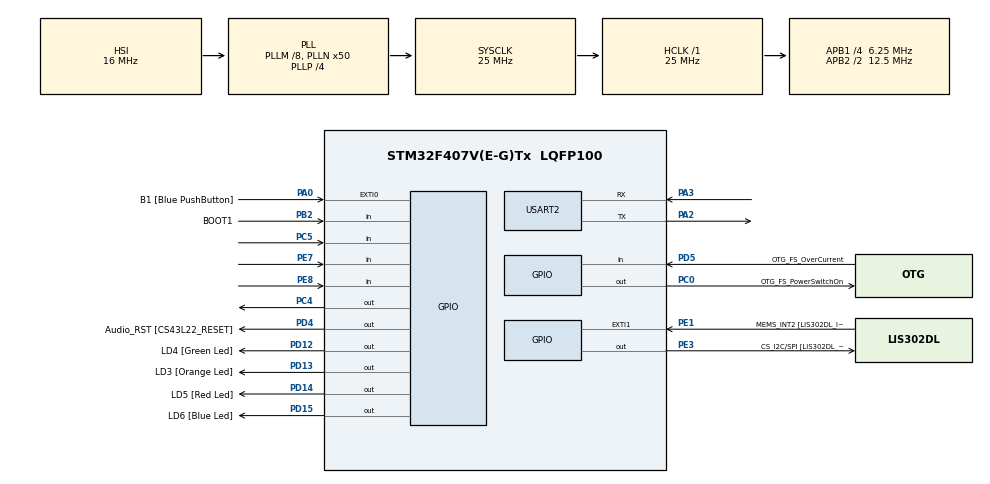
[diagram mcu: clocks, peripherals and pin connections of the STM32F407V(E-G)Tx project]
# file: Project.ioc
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Mcu.Family=STM32F4
Mcu.Name=STM32F407V(E-G)Tx
Mcu.Package=LQFP100
NVIC.PriorityGroup=NVIC_PRIORITYGROUP_0
PA0-WKUP.GPIO_Label=B1 [Blue PushButton]
PA0-WKUP.Signal=GPXTI0
PA10.GPIO_Label=OTG_FS_ID
PA10.GPIO_Mode=GPIO_MODE_AF_PP
PA10.GPIO_PuPd=GPIO_NOPULL
PA10.GPIO_Speed=GPIO_SPEED_FREQ_LOW
PA10.Signal=USB_OTG_FS_ID
PA11.GPIO_Label=OTG_FS_DM
PA11.GPIO_Mode=GPIO_MODE_AF_PP
PA11.GPIO_PuPd=GPIO_NOPULL
PA11.GPIO_Speed=GPIO_SPEED_FREQ_LOW
PA11.Signal=USB_OTG_FS_DM
PA12.GPIO_Label=OTG_FS_DP
PA12.GPIO_Mode=GPIO_MODE_AF_PP
PA12.GPIO_PuPd=GPIO_NOPULL
PA12.GPIO_Speed=GPIO_SPEED_FREQ_LOW
PA12.Signal=USB_OTG_FS_DP
PA13.GPIO_Label=SWDIO
PA13.Signal=SYS_JTMS-SWDIO
PA14.GPIO_Label=SWCLK
PA14.Signal=SYS_JTCK-SWCLK
PA2.Mode=Asynchronous
PA2.Signal=USART2_TX
PA3.Mode=Asynchronous
PA3.Signal=USART2_RX
PA4.GPIO_Label=I2S3_WS [CS43L22_LRCK]
PA4.GPIO_Mode=GPIO_MODE_AF_PP
PA4.GPIO_PuPd=GPIO_NOPULL
PA4.GPIO_Speed=GPIO_SPEED_FREQ_LOW
PA4.Signal=I2S3_WS
PA5.GPIO_Label=SPI1_SCK [LIS302DL_SCL/SPC]
PA5.GPIO_Mode=GPIO_MODE_AF_PP
PA5.GPIO_PuPd=GPIO_NOPULL
PA5.GPIO_Speed=GPIO_SPEED_FREQ_LOW
PA5.Signal=SPI1_SCK
PA6.GPIO_Label=SPI1_MISO [LIS302DL_SDO]
PA6.GPIO_Mode=GPIO_MODE_AF_PP
PA6.GPIO_PuPd=GPIO_NOPULL
PA6.GPIO_Speed=GPIO_SPEED_FREQ_LOW
PA6.Signal=SPI1_MISO
PA7.GPIO_Label=SPI1_MOSI [LIS302DL_SDA/SDI/SDO]
PA7.GPIO_Mode=GPIO_MODE_AF_PP
PA7.GPIO_PuPd=GPIO_NOPULL
PA7.GPIO_Speed=GPIO_SPEED_FREQ_LOW
PA7.Signal=SPI1_MOSI
PA9.GPIO_Label=VBUS_FS
PA9.GPIO_Mode=GPIO_MODE_INPUT
PA9.GPIO_PuPd=GPIO_NOPULL
PA9.Signal=USB_OTG_FS_VBUS
PB10.GPIO_Label=CLK_IN [MP45DT02_CLK]
PB10.GPIO_Mode=GPIO_MODE_AF_PP
PB10.GPIO_PuPd=GPIO_NOPULL
PB10.GPIO_Speed=GPIO_SPEED_FREQ_LOW
PB10.Signal=I2S2_CK
PB2.GPIO_Label=BOOT1
PB2.GPIO_Mode=GPIO_MODE_INPUT
PB2.GPIO_PuPd=GPIO_NOPULL
PB2.Signal=GPIO_Input
PB3.GPIO_Label=SWO
PB3.Signal=SYS_JTDO-SWO
PB6.GPIO_Label=Audio_SCL [CS43L22_SCL]
PB6.GPIO_Mode=GPIO_MODE_AF_OD
PB6.GPIO_PuPd=GPIO_NOPULL
PB6.GPIO_Speed=GPIO_SPEED_FREQ_LOW
PB6.Signal=I2C1_SCL
PB9.GPIO_Label=Audio_SDA [CS43L22_SDA]
PB9.GPIO_Mode=GPIO_MODE_AF_OD
PB9.GPIO_PuPd=GPIO_NOPULL
PB9.GPIO_Speed=GPIO_SPEED_FREQ_LOW
PB9.Signal=I2C1_SDA
PC0.GPIO_Label=OTG_FS_PowerSwitchOn
PC0.GPIO_PuPd=GPIO_NOPULL
PC0.GPIO_Speed=GPIO_SPEED_FREQ_LOW
PC0.PinState=GPIO_PIN_SET
PC0.Signal=GPIO_Output
PC10.GPIO_Label=I2S3_SCK [CS43L22_SCLK]
PC10.GPIO_Mode=GPIO_MODE_AF_PP
PC10.GPIO_PuPd=GPIO_NOPULL
PC10.GPIO_Speed=GPIO_SPEED_FREQ_LOW
PC10.Signal=I2S3_CK
PC12.GPIO_Label=I2S3_SD [CS43L22_SDIN]
PC12.GPIO_Mode=GPIO_MODE_AF_PP
PC12.GPIO_PuPd=GPIO_NOPULL
PC12.GPIO_Speed=GPIO_SPEED_FREQ_LOW
PC12.Signal=I2S3_SD
PC14-OSC32_IN.GPIO_Label=PC14-OSC32_IN
PC14-OSC32_IN.Signal=RCC_OSC32_IN
PC15-OSC32_OUT.GPIO_Label=PC15-OSC32_OUT
PC15-OSC32_OUT.Signal=RCC_OSC32_OUT
PC3.GPIO_Label=PDM_OUT [MP45DT02_DOUT]
PC3.GPIO_Mode=GPIO_MODE_AF_PP
PC3.GPIO_PuPd=GPIO_NOPULL
PC3.GPIO_Speed=GPIO_SPEED_FREQ_LOW
PC3.Signal=I2S2_SD
PC4.Signal=GPIO_Output
PC5.Signal=GPIO_Input
PC7.GPIO_Label=I2S3_MCK [CS43L22_MCLK]
PC7.GPIO_Mode=GPIO_MODE_AF_PP
PC7.GPIO_PuPd=GPIO_NOPULL
PC7.GPIO_Speed=GPIO_SPEED_FREQ_LOW
PC7.Signal=I2S3_MCK
PD12.GPIO_Label=LD4 [Green Led]
PD12.GPIO_PuPd=GPIO_NOPULL
PD12.GPIO_Speed=GPIO_SPEED_FREQ_LOW
PD12.Signal=GPIO_Output
PD13.GPIO_Label=LD3 [Orange Led]
PD13.GPIO_PuPd=GPIO_NOPULL
PD13.GPIO_Speed=GPIO_SPEED_FREQ_LOW
PD13.Signal=GPIO_Output
PD14.GPIO_Label=LD5 [Red Led]
PD14.GPIO_PuPd=GPIO_NOPULL
PD14.GPIO_Speed=GPIO_SPEED_FREQ_LOW
PD14.Signal=GPIO_Output
PD15.GPIO_Label=LD6 [Blue Led]
PD15.GPIO_PuPd=GPIO_NOPULL
PD15.GPIO_Speed=GPIO_SPEED_FREQ_LOW
PD15.Signal=GPIO_Output
PD4.GPIO_Label=Audio_RST [CS43L22_RESET]
PD4.GPIO_PuPd=GPIO_NOPULL
PD4.GPIO_Speed=GPIO_SPEED_FREQ_LOW
PD4.Signal=GPIO_Output
PD5.GPIO_Label=OTG_FS_OverCurrent
PD5.GPIO_Mode=GPIO_MODE_INPUT
PD5.GPIO_PuPd=GPIO_NOPULL
PD5.Signal=GPIO_Input
PE1.GPIO_Label=MEMS_INT2 [LIS302DL_INT2]
PE1.GPIO_ModeDefaultEXTI=GPIO_MODE_EVT_RISING
PE1.GPIO_PuPd=GPIO_NOPULL
PE1.Signal=GPXTI1
PE3.GPIO_Label=CS_I2C/SPI [LIS302DL_CS_I2C/SPI]
PE3.GPIO_PuPd=GPIO_NOPULL
PE3.GPIO_Speed=GPIO_SPEED_FREQ_LOW
PE3.Signal=GPIO_Output
PE7.Signal=GPIO_Input
PE8.Signal=GPIO_Input
PH0-OSC_IN.GPIO_Label=PH0-OSC_IN
PH0-OSC_IN.Signal=RCC_OSC_IN
PH1-OSC_OUT.GPIO_Label=PH1-OSC_OUT
PH1-OSC_OUT.Signal=RCC_OSC_OUT
ProjectManager.HeapSize=0x200
ProjectManager.StackSize=0x400
ProjectManager.TargetToolchain=SW4STM32
RCC.48MHZClocksFreq_Value=14285714.285714285
RCC.AHBFreq_Value=25000000
RCC.APB1CLKDivider=RCC_HCLK_DIV4
RCC.APB1Freq_Value=6250000
RCC.APB1TimFreq_Value=12500000
RCC.APB2CLKDivider=RCC_HCLK_DIV2
RCC.APB2Freq_Value=12500000
RCC.APB2TimFreq_Value=25000000
RCC.CortexFreq_Value=25000000
RCC.HCLKFreq_Value=25000000
RCC.HSE_VALUE=8000000
RCC.HSI_VALUE=16000000
RCC.LSE_VALUE=32768
RCC.PLLM=8
RCC.PLLN=50
RCC.PLLP=RCC_PLLP_DIV4
RCC.PLLQ=7
RCC.SYSCLKFreq_VALUE=25000000
RCC.SYSCLKSource=RCC_SYSCLKSOURCE_PLLCLK
RCC.VCOOutputFreq_Value=100000000
USART2.VirtualMode=VM_ASYNC
board=STM32F4DISCOVERY

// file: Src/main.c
/**
  ******************************************************************************
  * File Name          : main.c
  * Description        : Main program body
  ******************************************************************************
  ** This notice applies to any and all portions of this file
  * that are not between comment pairs USER CODE BEGIN and
  * USER CODE END. Other portions of this file, whether
  * inserted by the user or by software development tools
  * are owned by their respective copyright owners.
  *
  * COPYRIGHT(c) 2017 STMicroelectronics
  *
  * Redistribution and use in source and binary forms, with or without modification,
  * are permitted provided that the following conditions are met:
  *   1. Redistributions of source code must retain the above copyright notice,
  *      this list of conditions and the following disclaimer.
  *   2. Redistributions in binary form must reproduce the above copyright notice,
  *      this list of conditions and the following disclaimer in the documentation
  *      and/or other materials provided with the distribution.
  *   3. Neither the name of STMicroelectronics nor the names of its contributors
  *      may be used to endorse or promote products derived from this software
  *      without specific prior written permission.
  *
  * THIS SOFTWARE IS PROVIDED BY THE COPYRIGHT HOLDERS AND CONTRIBUTORS "AS IS"
  * AND ANY EXPRESS OR IMPLIED WARRANTIES, INCLUDING, BUT NOT LIMITED TO, THE
  * IMPLIED WARRANTIES OF MERCHANTABILITY AND FITNESS FOR A PARTICULAR PURPOSE ARE
  * DISCLAIMED. IN NO EVENT SHALL THE COPYRIGHT HOLDER OR CONTRIBUTORS BE LIABLE
  * FOR ANY DIRECT, INDIRECT, INCIDENTAL, SPECIAL, EXEMPLARY, OR CONSEQUENTIAL
  * DAMAGES (INCLUDING, BUT NOT LIMITED TO, PROCUREMENT OF SUBSTITUTE GOODS OR
  * SERVICES; LOSS OF USE, DATA, OR PROFITS; OR BUSINESS INTERRUPTION) HOWEVER
  * CAUSED AND ON ANY THEORY OF LIABILITY, WHETHER IN CONTRACT, STRICT LIABILITY,
  * OR TORT (INCLUDING NEGLIGENCE OR OTHERWISE) ARISING IN ANY WAY OUT OF THE USE
  * OF THIS SOFTWARE, EVEN IF ADVISED OF THE POSSIBILITY OF SUCH DAMAGE.
  *
  ******************************************************************************
  */
#include "main.h"
#include "stm32f4xx_hal.h"

/* USER CODE BEGIN Includes */
#include "dwt_stm32_delay.h"
/* USER CODE END Includes */

UART_HandleTypeDef huart2;

/* USER CODE BEGIN PV */
/* Private variables ---------------------------------------------------------*/

/* USER CODE END PV */

void SystemClock_Config(void);
static void MX_GPIO_Init(void);
static void MX_USART2_UART_Init(void);

/* USER CODE BEGIN PFP */
/* Private function prototypes -----------------------------------------------*/
/* USER CODE END PFP */

/* USER CODE BEGIN 0 */
int in=0;
uint32_t old_time,new_time;
uint32_t duration=0;
int E8=0,E7=0;
int calibrate=0;
int len_mmx100=0;
int len_int=0;
int len_frac=0;
int status=0;
char c[sizeof(int)];

/* USER CODE END 0 */

int main(void)
{

  /* MCU Configuration----------------------------------------------------------*/

  /* Reset of all peripherals, Initializes the Flash interface and the Systick. */
  HAL_Init();

  /* Configure the system clock */
  SystemClock_Config();

  /* Initialize all configured peripherals */
  MX_GPIO_Init();
  MX_USART2_UART_Init();

  /* USER CODE BEGIN 2 */
  HAL_GPIO_WritePin(GPIOA,GPIO_PIN_3,0);
  /* USER CODE END 2 */

  /* Infinite loop */
  while (1)
  {

  /* USER CODE BEGIN 3 */

	  HAL_GPIO_WritePin(GPIOC,GPIO_PIN_4,0);
	  DWT_Delay_us(10);
	  HAL_GPIO_WritePin(GPIOC,GPIO_PIN_4,1);
	  DWT_Delay_us(50);
	  HAL_GPIO_WritePin(GPIOC,GPIO_PIN_4,0);
	  DWT_Delay_us(10);
	  //in = HAL_GPIO_ReadPin(GPIOA,GPIO_PIN_3);
	  //old_time=HAL_GetTick();
	  HAL_GPIO_WritePin(GPIOA,GPIO_PIN_5,0);
	  while(!HAL_GPIO_ReadPin(GPIOC,GPIO_PIN_5))

	  old_time=(DWT->CYCCNT) >> 4;
	  while(HAL_GPIO_ReadPin(GPIOC,GPIO_PIN_5)) HAL_GPIO_WritePin(GPIOD,GPIO_PIN_12,1);
	  new_time=(DWT->CYCCNT) >> 4;
	  /*
	  while(1) {
		  HAL_GPIO_WritePin(GPIOD,GPIO_PIN_12,1);
		  if (status==0){
			  if (HAL_GPIO_ReadPin(GPIOC,GPIO_PIN_5)) {
				  status=1;
				  old_time=(DWT->CYCCNT) >> 4;
			  }
			  else continue;
		  }
		  else {
			  if (!HAL_GPIO_ReadPin(GPIOC,GPIO_PIN_5)){
				  status=0;
				  new_time=(DWT->CYCCNT) >> 4;
				  break;
			  }else continue;
		  }
	  }
*/
	  //new_time=HAL_GetTick();

	  E8=HAL_GPIO_ReadPin(GPIOE,GPIO_PIN_8);
	  E7=HAL_GPIO_ReadPin(GPIOE,GPIO_PIN_7);
	  duration=(new_time-old_time)/2;
	  HAL_GPIO_WritePin(GPIOD,GPIO_PIN_12,0);
	  //duration = pulseIn();

	  if(duration < 10000 && duration > 1){
		  len_mmx100 = duration*34/2;
		  len_int = len_mmx100/100;
		  len_frac = len_mmx100%100;
		  if(!(E8 && E7)){calibrate = len_int;}
	  }
	  else if(!(E8 && E7)){calibrate = 0;}

	  HAL_GPIO_WritePin(GPIOD,GPIO_PIN_13,E8);
	  HAL_GPIO_WritePin(GPIOD,GPIO_PIN_15,E7);

	  if(duration < 10000 && duration > 1 && E8 && E7 && (len_int-calibrate>20 || calibrate-len_int>20)){
		  memset(c,0,sizeof(c));
		  	  sprintf(c,"%d",len_int);
		  	  if(len_int<1000)
		  	  	  {if (HAL_UART_Transmit(&huart2,c,sizeof(c),1000)==HAL_OK);
		  	  	  	  HAL_GPIO_TogglePin(GPIOD,GPIO_PIN_14);
		  	  	  }
		  	  else {
		  		  char* nnn = "\n";
		  		  if (HAL_UART_Transmit(&huart2,c,sizeof(c),1000)==HAL_OK && HAL_UART_Transmit(&huart2,nnn,1,1000)==HAL_OK);
		  		  	  	  	  HAL_GPIO_TogglePin(GPIOD,GPIO_PIN_14);
		  	  	  }
	  }

	  HAL_Delay(1000);

	  int state;

  }
  /* USER CODE END 3 */

}

/** System Clock Configuration
*/
void SystemClock_Config(void)
{

  RCC_OscInitTypeDef RCC_OscInitStruct;
  RCC_ClkInitTypeDef RCC_ClkInitStruct;

    /**Configure the main internal regulator output voltage
    */
  __HAL_RCC_PWR_CLK_ENABLE();

  __HAL_PWR_VOLTAGESCALING_CONFIG(PWR_REGULATOR_VOLTAGE_SCALE1);

    /**Initializes the CPU, AHB and APB busses clocks
    */
  RCC_OscInitStruct.OscillatorType = RCC_OSCILLATORTYPE_HSI;
  RCC_OscInitStruct.HSIState = RCC_HSI_ON;
  RCC_OscInitStruct.HSICalibrationValue = 16;
  RCC_OscInitStruct.PLL.PLLState = RCC_PLL_ON;
  RCC_OscInitStruct.PLL.PLLSource = RCC_PLLSOURCE_HSI;
  RCC_OscInitStruct.PLL.PLLM = 8;
  RCC_OscInitStruct.PLL.PLLN = 50;
  RCC_OscInitStruct.PLL.PLLP = RCC_PLLP_DIV4;
  RCC_OscInitStruct.PLL.PLLQ = 7;
  if (HAL_RCC_OscConfig(&RCC_OscInitStruct) != HAL_OK)
  {
    _Error_Handler(__FILE__, __LINE__);
  }

    /**Initializes the CPU, AHB and APB busses clocks
    */
  RCC_ClkInitStruct.ClockType = RCC_CLOCKTYPE_HCLK|RCC_CLOCKTYPE_SYSCLK
                              |RCC_CLOCKTYPE_PCLK1|RCC_CLOCKTYPE_PCLK2;
  RCC_ClkInitStruct.SYSCLKSource = RCC_SYSCLKSOURCE_PLLCLK;
  RCC_ClkInitStruct.AHBCLKDivider = RCC_SYSCLK_DIV1;
  RCC_ClkInitStruct.APB1CLKDivider = RCC_HCLK_DIV4;
  RCC_ClkInitStruct.APB2CLKDivider = RCC_HCLK_DIV2;

  if (HAL_RCC_ClockConfig(&RCC_ClkInitStruct, FLASH_LATENCY_0) != HAL_OK)
  {
    _Error_Handler(__FILE__, __LINE__);
  }

    /**Configure the Systick interrupt time
    */
  HAL_SYSTICK_Config(HAL_RCC_GetHCLKFreq()/1000);

    /**Configure the Systick
    */
  HAL_SYSTICK_CLKSourceConfig(SYSTICK_CLKSOURCE_HCLK);

  /* SysTick_IRQn interrupt configuration */
  HAL_NVIC_SetPriority(SysTick_IRQn, 0, 0);
}

/* USART2 init function */
static void MX_USART2_UART_Init(void)
{

  huart2.Instance = USART2;
  huart2.Init.BaudRate = 115200;
  huart2.Init.WordLength = UART_WORDLENGTH_8B;
  huart2.Init.StopBits = UART_STOPBITS_1;
  huart2.Init.Parity = UART_PARITY_NONE;
  huart2.Init.Mode = UART_MODE_TX_RX;
  huart2.Init.HwFlowCtl = UART_HWCONTROL_NONE;
  huart2.Init.OverSampling = UART_OVERSAMPLING_16;
  if (HAL_UART_Init(&huart2) != HAL_OK)
  {
    _Error_Handler(__FILE__, __LINE__);
  }

}

/** Configure pins as
        * Analog
        * Input
        * Output
        * EVENT_OUT
        * EXTI
     PC3   ------> I2S2_SD
     PA4   ------> I2S3_WS
     PA5   ------> SPI1_SCK
     PA6   ------> SPI1_MISO
     PA7   ------> SPI1_MOSI
     PB10   ------> I2S2_CK
     PC7   ------> I2S3_MCK
     PA9   ------> USB_OTG_FS_VBUS
     PA10   ------> USB_OTG_FS_ID
     PA11   ------> USB_OTG_FS_DM
     PA12   ------> USB_OTG_FS_DP
     PC10   ------> I2S3_CK
     PC12   ------> I2S3_SD
     PB6   ------> I2C1_SCL
     PB9   ------> I2C1_SDA
*/
static void MX_GPIO_Init(void)
{

  GPIO_InitTypeDef GPIO_InitStruct;

  /* GPIO Ports Clock Enable */
  __HAL_RCC_GPIOE_CLK_ENABLE();
  __HAL_RCC_GPIOC_CLK_ENABLE();
  __HAL_RCC_GPIOH_CLK_ENABLE();
  __HAL_RCC_GPIOA_CLK_ENABLE();
  __HAL_RCC_GPIOB_CLK_ENABLE();
  __HAL_RCC_GPIOD_CLK_ENABLE();

  /*Configure GPIO pin Output Level */
  HAL_GPIO_WritePin(CS_I2C_SPI_GPIO_Port, CS_I2C_SPI_Pin, GPIO_PIN_RESET);

  /*Configure GPIO pin Output Level */
  HAL_GPIO_WritePin(OTG_FS_PowerSwitchOn_GPIO_Port, OTG_FS_PowerSwitchOn_Pin, GPIO_PIN_SET);

  /*Configure GPIO pin Output Level */
  HAL_GPIO_WritePin(GPIOC, GPIO_PIN_4, GPIO_PIN_RESET);

  /*Configure GPIO pin Output Level */
  HAL_GPIO_WritePin(GPIOD, LD4_Pin|LD3_Pin|LD5_Pin|LD6_Pin
                          |Audio_RST_Pin, GPIO_PIN_RESET);

  /*Configure GPIO pin : CS_I2C_SPI_Pin */
  GPIO_InitStruct.Pin = CS_I2C_SPI_Pin;
  GPIO_InitStruct.Mode = GPIO_MODE_OUTPUT_PP;
  GPIO_InitStruct.Pull = GPIO_NOPULL;
  GPIO_InitStruct.Speed = GPIO_SPEED_FREQ_LOW;
  HAL_GPIO_Init(CS_I2C_SPI_GPIO_Port, &GPIO_InitStruct);

  /*Configure GPIO pins : OTG_FS_PowerSwitchOn_Pin PC4 */
  GPIO_InitStruct.Pin = OTG_FS_PowerSwitchOn_Pin|GPIO_PIN_4;
  GPIO_InitStruct.Mode = GPIO_MODE_OUTPUT_PP;
  GPIO_InitStruct.Pull = GPIO_NOPULL;
  GPIO_InitStruct.Speed = GPIO_SPEED_FREQ_LOW;
  HAL_GPIO_Init(GPIOC, &GPIO_InitStruct);

  /*Configure GPIO pin : PDM_OUT_Pin */
  GPIO_InitStruct.Pin = PDM_OUT_Pin;
  GPIO_InitStruct.Mode = GPIO_MODE_AF_PP;
  GPIO_InitStruct.Pull = GPIO_NOPULL;
  GPIO_InitStruct.Speed = GPIO_SPEED_FREQ_LOW;
  GPIO_InitStruct.Alternate = GPIO_AF5_SPI2;
  HAL_GPIO_Init(PDM_OUT_GPIO_Port, &GPIO_InitStruct);

  /*Configure GPIO pin : B1_Pin */
  GPIO_InitStruct.Pin = B1_Pin;
  GPIO_InitStruct.Mode = GPIO_MODE_IT_RISING;
  GPIO_InitStruct.Pull = GPIO_NOPULL;
  HAL_GPIO_Init(B1_GPIO_Port, &GPIO_InitStruct);

  /*Configure GPIO pin : I2S3_WS_Pin */
  GPIO_InitStruct.Pin = I2S3_WS_Pin;
  GPIO_InitStruct.Mode = GPIO_MODE_AF_PP;
  GPIO_InitStruct.Pull = GPIO_NOPULL;
  GPIO_InitStruct.Speed = GPIO_SPEED_FREQ_LOW;
  GPIO_InitStruct.Alternate = GPIO_AF6_SPI3;
  HAL_GPIO_Init(I2S3_WS_GPIO_Port, &GPIO_InitStruct);

  /*Configure GPIO pins : SPI1_SCK_Pin SPI1_MISO_Pin SPI1_MOSI_Pin */
  GPIO_InitStruct.Pin = SPI1_SCK_Pin|SPI1_MISO_Pin|SPI1_MOSI_Pin;
  GPIO_InitStruct.Mode = GPIO_MODE_AF_PP;
  GPIO_InitStruct.Pull = GPIO_NOPULL;
  GPIO_InitStruct.Speed = GPIO_SPEED_FREQ_LOW;
  GPIO_InitStruct.Alternate = GPIO_AF5_SPI1;
  HAL_GPIO_Init(GPIOA, &GPIO_InitStruct);

  /*Configure GPIO pin : PC5 */
  GPIO_InitStruct.Pin = GPIO_PIN_5;
  GPIO_InitStruct.Mode = GPIO_MODE_INPUT;
  GPIO_InitStruct.Pull = GPIO_NOPULL;
  HAL_GPIO_Init(GPIOC, &GPIO_InitStruct);

  /*Configure GPIO pin : BOOT1_Pin */
  GPIO_InitStruct.Pin = BOOT1_Pin;
  GPIO_InitStruct.Mode = GPIO_MODE_INPUT;
  GPIO_InitStruct.Pull = GPIO_NOPULL;
  HAL_GPIO_Init(BOOT1_GPIO_Port, &GPIO_InitStruct);

  /*Configure GPIO pins : PE7 PE8 */
  GPIO_InitStruct.Pin = GPIO_PIN_7|GPIO_PIN_8;
  GPIO_InitStruct.Mode = GPIO_MODE_INPUT;
  GPIO_InitStruct.Pull = GPIO_NOPULL;
  HAL_GPIO_Init(GPIOE, &GPIO_InitStruct);

  /*Configure GPIO pin : CLK_IN_Pin */
  GPIO_InitStruct.Pin = CLK_IN_Pin;
  GPIO_InitStruct.Mode = GPIO_MODE_AF_PP;
  GPIO_InitStruct.Pull = GPIO_NOPULL;
  GPIO_InitStruct.Speed = GPIO_SPEED_FREQ_LOW;
  GPIO_InitStruct.Alternate = GPIO_AF5_SPI2;
  HAL_GPIO_Init(CLK_IN_GPIO_Port, &GPIO_InitStruct);

  /*Configure GPIO pins : LD4_Pin LD3_Pin LD5_Pin LD6_Pin
                           Audio_RST_Pin */
  GPIO_InitStruct.Pin = LD4_Pin|LD3_Pin|LD5_Pin|LD6_Pin
                          |Audio_RST_Pin;
  GPIO_InitStruct.Mode = GPIO_MODE_OUTPUT_PP;
  GPIO_InitStruct.Pull = GPIO_NOPULL;
  GPIO_InitStruct.Speed = GPIO_SPEED_FREQ_LOW;
  HAL_GPIO_Init(GPIOD, &GPIO_InitStruct);

  /*Configure GPIO pins : I2S3_MCK_Pin I2S3_SCK_Pin I2S3_SD_Pin */
  GPIO_InitStruct.Pin = I2S3_MCK_Pin|I2S3_SCK_Pin|I2S3_SD_Pin;
  GPIO_InitStruct.Mode = GPIO_MODE_AF_PP;
  GPIO_InitStruct.Pull = GPIO_NOPULL;
  GPIO_InitStruct.Speed = GPIO_SPEED_FREQ_LOW;
  GPIO_InitStruct.Alternate = GPIO_AF6_SPI3;
  HAL_GPIO_Init(GPIOC, &GPIO_InitStruct);

  /*Configure GPIO pin : VBUS_FS_Pin */
  GPIO_InitStruct.Pin = VBUS_FS_Pin;
  GPIO_InitStruct.Mode = GPIO_MODE_INPUT;
  GPIO_InitStruct.Pull = GPIO_NOPULL;
  HAL_GPIO_Init(VBUS_FS_GPIO_Port, &GPIO_InitStruct);

  /*Configure GPIO pins : OTG_FS_ID_Pin OTG_FS_DM_Pin OTG_FS_DP_Pin */
  GPIO_InitStruct.Pin = OTG_FS_ID_Pin|OTG_FS_DM_Pin|OTG_FS_DP_Pin;
  GPIO_InitStruct.Mode = GPIO_MODE_AF_PP;
  GPIO_InitStruct.Pull = GPIO_NOPULL;
  GPIO_InitStruct.Speed = GPIO_SPEED_FREQ_LOW;
  GPIO_InitStruct.Alternate = GPIO_AF10_OTG_FS;
  HAL_GPIO_Init(GPIOA, &GPIO_InitStruct);

  /*Configure GPIO pin : OTG_FS_OverCurrent_Pin */
  GPIO_InitStruct.Pin = OTG_FS_OverCurrent_Pin;
  GPIO_InitStruct.Mode = GPIO_MODE_INPUT;
  GPIO_InitStruct.Pull = GPIO_NOPULL;
  HAL_GPIO_Init(OTG_FS_OverCurrent_GPIO_Port, &GPIO_InitStruct);

  /*Configure GPIO pins : Audio_SCL_Pin Audio_SDA_Pin */
  GPIO_InitStruct.Pin = Audio_SCL_Pin|Audio_SDA_Pin;
  GPIO_InitStruct.Mode = GPIO_MODE_AF_OD;
  GPIO_InitStruct.Pull = GPIO_PULLUP;
  GPIO_InitStruct.Speed = GPIO_SPEED_FREQ_LOW;
  GPIO_InitStruct.Alternate = GPIO_AF4_I2C1;
  HAL_GPIO_Init(GPIOB, &GPIO_InitStruct);

  /*Configure GPIO pin : MEMS_INT2_Pin */
  GPIO_InitStruct.Pin = MEMS_INT2_Pin;
  GPIO_InitStruct.Mode = GPIO_MODE_EVT_RISING;
  GPIO_InitStruct.Pull = GPIO_NOPULL;
  HAL_GPIO_Init(MEMS_INT2_GPIO_Port, &GPIO_InitStruct);

}

void _Error_Handler(char * file, int line)
{
  while(1)
  {
  }
}

/************************ (C) COPYRIGHT STMicroelectronics *****END OF FILE****/
